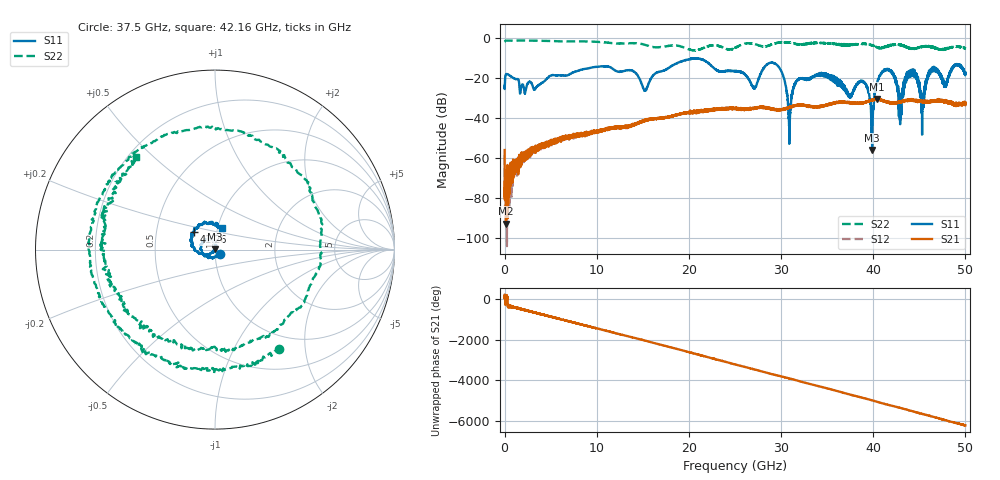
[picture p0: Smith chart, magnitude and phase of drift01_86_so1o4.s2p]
!Created with skrf (http://scikit-rf.org).
# Hz S RI R 50.0
!freq ReS11 ImS11 ReS21 ImS21 ReS12 ImS12 ReS22 ImS22
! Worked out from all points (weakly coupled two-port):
!   10001 points, 300 kHz to 50 GHz, reference 50 ohm
!   highest |S21| = -30.54 dB at 40.44 GHz (marker M1); lowest = -92.8 dB at 140.3 MHz (marker M2)
!   lowest |S11| = -56.1 dB at 39.89 GHz (marker M3), VSWR 1.00, Z = 50 + j0.153 ohm
!   |S11| at or under -10 dB: start of sweep to end of sweep
!   |S22| runs from -6.4 to -1.4 dB; largest |S21 - S12| = 0.0042
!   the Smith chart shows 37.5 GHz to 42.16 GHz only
!   S11 on the Smith chart (normalised r, x): 37.5 GHz: 1.06, -0.05; 41.26 GHz: 0.77, +0.15; 42.16 GHz: 1.05, +0.25
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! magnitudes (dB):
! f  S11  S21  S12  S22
! 300 kHz  -24.0  -56.1  -58.9  -2.1
! 140.3 MHz  -18.3  -92.8  -78.9  -1.5
! 8.335 GHz  -15.9  -48.3  -48.4  -1.8
! 16.67 GHz  -17.1  -40.6  -40.3  -4.8
! 25 GHz  -16.5  -35.3  -35.7  -5.0
! 27.09 GHz  -25.1  -35.2  -35.2  -3.0
! 29.44 GHz  -13.2  -35.9  -35.8  -2.7
! 30.91 GHz  -49.2  -35.0  -34.8  -2.5
! 31.67 GHz  -21.7  -33.7  -33.7  -3.2
! 33.34 GHz  -19.9  -34.3  -34.4  -2.7
! 37.5 GHz  -28.8  -32.7  -32.6  -3.7
! 39 GHz  -22.2  -32.3  -32.6  -3.1
! 39.89 GHz  -56.1  -31.2  -31.2  -3.8
! 40.44 GHz  -22.4  -30.5  -30.7  -4.9
! 41.26 GHz  -16.3  -31.7  -31.8  -4.6
! 41.67 GHz  -15.8  -32.1  -32.4  -4.3
! 42.16 GHz  -18.1  -32.5  -32.7  -3.4
! 42.99 GHz  -29.2  -31.9  -32.1  -3.5
! 44.03 GHz  -17.1  -30.7  -31.1  -5.3
! 45.31 GHz  -39.5  -32.0  -32.2  -4.5
! 46.42 GHz  -15.4  -31.9  -31.8  -4.8
! 50 GHz  -17.3  -32.2  -32.4  -5.3
